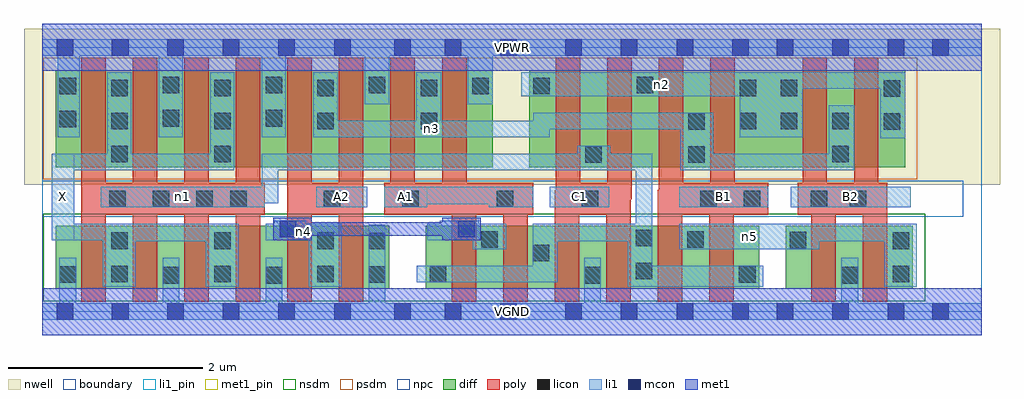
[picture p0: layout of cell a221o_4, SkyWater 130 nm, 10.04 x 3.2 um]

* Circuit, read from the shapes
.subckt a221o_4 A1 A2 B1 B2 C1 VGND VPWR X n1 n2 n3 n4 n5
XM1 X n1 VGND VSUBS sky130_fd_pr__nfet_01v8 w=0.65 l=0.25 m=4
XM2 n4 A2 VGND VSUBS sky130_fd_pr__nfet_01v8 w=0.65 l=0.25 m=2
XM3 n4 A1 n1 VSUBS sky130_fd_pr__nfet_01v8 w=0.65 l=0.25 m=2
XM4 VGND C1 n1 VSUBS sky130_fd_pr__nfet_01v8 w=0.65 l=0.25 m=2
XM5 n5 B1 n1 VSUBS sky130_fd_pr__nfet_01v8 w=0.65 l=0.25 m=2
XM6 VGND B2 n5 VSUBS sky130_fd_pr__nfet_01v8 w=0.65 l=0.25 m=2
XM7 X n1 VPWR n6 sky130_fd_pr__pfet_01v8 w=1 l=0.25 m=4
XM8 n3 A2 VPWR n6 sky130_fd_pr__pfet_01v8 w=1 l=0.25 m=2
XM9 n3 A1 VPWR n6 sky130_fd_pr__pfet_01v8 w=1 l=0.25 m=2
XM10 n1 C1 n2 n6 sky130_fd_pr__pfet_01v8 w=1 l=0.25 m=2
XM11 n3 B1 n2 n6 sky130_fd_pr__pfet_01v8 w=1 l=0.25 m=2
XM12 n3 B2 n2 n6 sky130_fd_pr__pfet_01v8 w=1 l=0.25 m=2
.ends

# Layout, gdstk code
import gdstk
lib = gdstk.Library(unit=1e-6, precision=1e-09)
def R(c, l, rs):  # rectangles x0, y0, x1, y1
    for r in rs: c.add(gdstk.rectangle(r[:2], r[2:], *l))
def A(c, l, x, y, w, h, nx, ny, dx, dy):  # array of equal rectangles
    R(c, l, [(x+i*dx, y+j*dy, x+i*dx+w, y+j*dy+h) for i in range(nx) for j in range(ny)])
nwell = (64, 20)
diff = (65, 20)
poly = (66, 20)
licon = (66, 44)
li1_pin = (67, 16)
li1 = (67, 20)
mcon = (67, 44)
met1_pin = (68, 16)
met1 = (68, 20)
nsdm = (93, 44)
psdm = (94, 20)
npc = (95, 20)
boundary = (235, 4)

a221o_4 = lib.new_cell('a221o_4')
R(a221o_4, nwell, [(-0.19,1.305,9.85,2.91), (0,1.305,9.66,2.91)])
R(a221o_4, diff, [(0.135,0.235,3.565,0.885), (3.945,0.235,7.375,0.885), (7.645,0.235,8.955,0.885), (0.135,1.485,4.63,2.485), (5.01,1.485,8.875,2.485)])
A(a221o_4, poly, 0.4, 0.105, 0.25, 2.51, 6, 1, 0.53, 0)
A(a221o_4, poly, 4.74, 0.105, 0.25, 1.22, 3, 1, 1.06, 0)
R(a221o_4, poly, [(4.21,0.105,4.46,1.325), (5.27,0.105,5.52,1.25), (6.33,0.105,6.58,1.255), (7.91,0.105,8.16,1.325), (8.44,0.105,8.69,1.325), (0.4,0.995,2.285,1.325), (2.52,0.995,3.3,1.325), (3.515,0.995,5.05,1.325), (3.58,0.995,3.83,2.615), (4.115,0.995,4.365,2.615), (5.28,0.995,5.53,2.615), (5.28,0.995,5.8,1.325), (6.34,0.995,6.59,2.615), (6.34,0.995,7.465,1.325), (6.87,0.995,7.12,2.615), (7.77,0.995,8.69,1.325), (7.82,0.995,8.07,2.615), (8.35,0.995,8.6,2.615), (5.81,1.155,6.06,2.615)])
A(a221o_4, licon, 0.705, 0.305, 0.17, 0.17, 3, 2, 1.06, 0.34)
A(a221o_4, licon, 0.705, 1.875, 0.17, 0.17, 3, 2, 1.06, 0.34)
A(a221o_4, licon, 1.235, 2.245, 0.17, 0.17, 3, 1, 1.06, 0)
R(a221o_4, licon, [(1.235,0.29,1.405,0.46), (2.295,0.29,2.465,0.46), (5.575,0.29,5.745,0.46), (8.215,0.29,8.385,0.46), (0.175,0.3,0.345,0.47), (3.355,0.3,3.525,0.47), (7.165,0.3,7.335,0.47), (3.985,0.305,4.155,0.475), (8.745,0.305,8.915,0.475), (6.105,0.335,6.275,0.505), (5.045,0.52,5.215,0.69), (3.355,0.64,3.525,0.81), (8.745,0.645,8.915,0.815), (7.685,0.65,7.855,0.82), (4.515,0.66,4.685,0.83), (6.635,0.66,6.805,0.83), (6.105,0.675,6.275,0.845), (0.685,1.075,0.855,1.245), (1.135,1.075,1.305,1.245), (1.58,1.075,1.75,1.245), (1.93,1.075,2.1,1.245), (2.895,1.075,3.065,1.245), (3.7,1.075,3.87,1.245), (4.675,1.075,4.845,1.245), (5.545,1.075,5.715,1.245), (6.765,1.075,6.935,1.245), (7.215,1.075,7.385,1.245), (7.905,1.075,8.075,1.245), (8.305,1.075,8.475,1.245), (5.585,1.53,5.755,1.7), (6.645,1.53,6.815,1.7), (0.705,1.535,0.875,1.705), (1.765,1.535,1.935,1.705), (8.125,1.535,8.295,1.705), (6.645,1.87,6.815,2.04), (8.655,1.87,8.825,2.04), (3.89,1.875,4.06,2.045), (7.175,1.875,7.345,2.045), (7.595,1.875,7.765,2.045), (8.125,1.875,8.295,2.045), (0.175,1.895,0.345,2.065), (1.235,1.905,1.405,2.075), (2.295,1.905,2.465,2.075), (8.655,2.21,8.825,2.38), (3.89,2.215,4.06,2.385), (7.175,2.215,7.345,2.385), (7.595,2.215,7.765,2.385), (0.175,2.235,0.345,2.405), (4.42,2.235,4.59,2.405), (5.05,2.235,5.22,2.405), (6.115,2.245,6.285,2.415)])
R(a221o_4, li1_pin, [(0.095,0.735,0.325,1.625), (2.815,1.075,3.34,1.285), (3.515,1.075,3.96,1.285), (5.22,1.075,5.83,1.285), (6.55,1.075,7.465,1.285), (7.7,1.075,8.93,1.285)])
A(a221o_4, li1, 0.175, -0.085, 0.17, 0.64, 3, 1, 1.06, 0)
A(a221o_4, li1, 0.62, 0.255, 0.34, 0.65, 3, 1, 1.06, 0)
R(a221o_4, li1, [(0,-0.085,9.66,0.085), (3.355,-0.085,3.525,0.895), (5.575,-0.085,5.745,0.555), (8.215,-0.085,8.39,0.555), (6.02,0.255,7.415,0.475), (6.02,0.255,6.275,0.905), (6.105,0.255,6.275,1.625), (8.66,0.255,8.995,0.905), (3.85,0.305,5.3,0.475), (5.045,0.305,5.3,0.905), (4.425,0.645,4.77,0.905), (6.55,0.645,7.99,0.905), (0.62,0.725,2.02,0.905), (5.045,0.725,6.275,0.905), (6.55,0.725,8.995,0.905), (0.095,0.735,2.02,0.905), (0.095,0.735,0.325,1.625), (2.295,0.735,3.08,0.905), (2.385,0.735,2.71,0.935), (3.96,0.735,4.77,0.905), (4.085,0.735,4.49,0.935), (0.6,1.075,2.285,1.285), (2.815,1.075,3.34,1.285), (3.515,1.075,3.96,1.285), (4.59,1.075,5.05,1.285), (5.22,1.075,5.83,1.285), (6.55,1.075,7.465,1.285), (7.7,1.075,8.93,1.285), (3.515,1.105,5.05,1.285), (2.255,1.115,2.425,1.625), (0.095,1.455,1.975,1.625), (0.665,1.455,0.915,2.465), (1.725,1.455,1.975,2.465), (2.255,1.455,6.275,1.625), (5.5,1.455,5.84,1.705), (6.56,1.455,8.35,1.625), (6.56,1.455,6.9,2.045), (8.09,1.455,8.35,2.125), (8.62,1.785,8.875,2.465), (0.155,1.795,0.385,2.805), (1.195,1.795,1.445,2.805), (2.255,1.795,2.505,2.805), (2.785,1.795,5.22,1.965), (2.785,1.795,3.035,2.465), (3.845,1.795,4.1,2.465), (7.175,1.795,7.82,2.465), (5.05,1.875,6.9,2.045), (3.315,2.135,3.565,2.805), (4.375,2.135,4.63,2.805), (4.925,2.215,7.82,2.465), (4.925,2.295,8.875,2.465), (0,2.635,9.66,2.805)])
A(a221o_4, mcon, 0.145, -0.085, 0.17, 0.17, 5, 2, 0.57, 2.72)
A(a221o_4, mcon, 7.555, -0.085, 0.17, 0.17, 3, 2, 0.57, 2.72)
R(a221o_4, mcon, [(3,-0.085,3.17,0.085), (3.62,-0.085,3.79,0.085), (4.14,-0.085,4.31,0.085), (4.71,-0.085,4.88,0.085), (5.38,-0.085,5.55,0.085), (5.95,-0.085,6.12,0.085), (6.525,-0.085,6.695,0.085), (7.095,-0.085,7.265,0.085), (9.155,-0.085,9.325,0.085), (2.44,0.765,2.61,0.935), (4.275,0.765,4.445,0.935), (3,2.635,3.17,2.805), (3.62,2.635,3.79,2.805), (4.14,2.635,4.31,2.805), (4.71,2.635,4.88,2.805), (5.38,2.635,5.55,2.805), (5.95,2.635,6.12,2.805), (6.525,2.635,6.695,2.805), (7.095,2.635,7.265,2.805), (9.155,2.635,9.325,2.805)])
R(a221o_4, met1_pin, [(0,-0.24,9.66,0.24), (0,2.48,9.66,2.96)])
R(a221o_4, met1, [(0,-0.24,9.66,0.24), (2.375,0.735,2.77,0.965), (4.115,0.735,4.51,0.965), (2.375,0.78,4.51,0.92), (0,2.48,9.66,2.96)])
R(a221o_4, nsdm, [(0.01,0.11,9.08,1.01)])
R(a221o_4, psdm, [(0.01,1.36,9,2.61)])
R(a221o_4, npc, [(0,0.975,9.47,1.345)])
R(a221o_4, boundary, [(0,0,9.66,2.72)])
a221o_4.add(gdstk.Label('A1', (3.737,1.18), layer=67, texttype=5))
a221o_4.add(gdstk.Label('A2', (3.077,1.18), layer=67, texttype=5))
a221o_4.add(gdstk.Label('B1', (7.007,1.18), layer=67, texttype=5))
a221o_4.add(gdstk.Label('B2', (8.315,1.18), layer=67, texttype=5))
a221o_4.add(gdstk.Label('C1', (5.525,1.18), layer=67, texttype=5))
a221o_4.add(gdstk.Label('X', (0.21,1.18), layer=67, texttype=5))
a221o_4.add(gdstk.Label('n5', (7.27,0.775), layer=67, texttype=5))
a221o_4.add(gdstk.Label('n4', (2.687,0.82), layer=67, texttype=5))
a221o_4.add(gdstk.Label('n1', (1.442,1.18), layer=67, texttype=5))
a221o_4.add(gdstk.Label('n3', (4.002,1.88), layer=67, texttype=5))
a221o_4.add(gdstk.Label('n2', (6.372,2.34), layer=67, texttype=5))
a221o_4.add(gdstk.Label('VPWR', (4.83,2.72), layer=68, texttype=5))
a221o_4.add(gdstk.Label('VGND', (4.83,0), layer=68, texttype=5))
a221o_4.add(gdstk.Label('A1', (3.737,1.18), layer=67, texttype=16))
a221o_4.add(gdstk.Label('A2', (3.077,1.18), layer=67, texttype=16))
a221o_4.add(gdstk.Label('B1', (7.007,1.18), layer=67, texttype=16))
a221o_4.add(gdstk.Label('B2', (8.315,1.18), layer=67, texttype=16))
a221o_4.add(gdstk.Label('C1', (5.525,1.18), layer=67, texttype=16))
a221o_4.add(gdstk.Label('X', (0.21,1.18), layer=67, texttype=16))
a221o_4.add(gdstk.Label('VPWR', (4.83,2.72), layer=68, texttype=16))
a221o_4.add(gdstk.Label('VGND', (4.83,0), layer=68, texttype=16))

lib.write_gds('a221o_4.gds')
